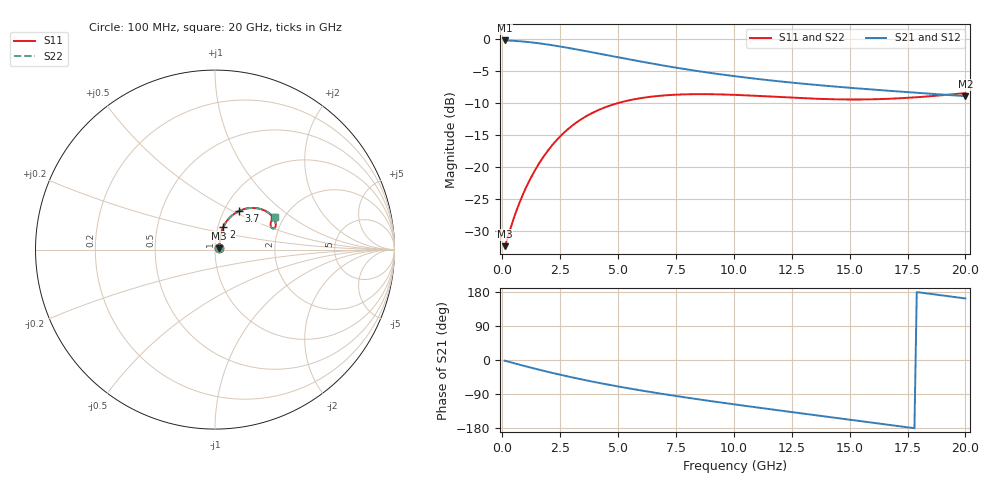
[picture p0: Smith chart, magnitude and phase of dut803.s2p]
! Touchstone file exported from HFSS 2024.1.0
!  File:  C:/UserFiles/LocalFiles/RDL_TSV_Batchsim/temp_RDL_TSV_803_1779911288.aedt
!  Generated:  04:02:50 AM May 28, 2026
!  Design:  RDL_TSV
!  Project:  temp_RDL_TSV_803_1779911288
!  Setup:  Setup1
!  Solution:  Sweep
! Variables:
!  dtsv = 9.27um
!  hbump = 3um
!  htsv = 61.24um
!  ldown = 311.72um
!  lrdl = 490.14um
!  p = 40
!  p1 = 47.83um
!  rhole = 10um
!  subl = 2895.72um
!  t = 450um
!  tdown = 4.37um
!  trdl = 2.82um
!  viad = 10um
!  wdown = 18.4um
!  wrdl = 13.08um
!  xbump = 18um
# GHz S MA R 50.000000
! Terminal data exported
! Port[1] = TM1_1_T1
! Port[2] = TM1_4_T1
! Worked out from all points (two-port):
!   200 points, 100 MHz to 20 GHz, reference 50 ohm
!   highest |S21| = -0.20 dB at 100 MHz (marker M1); lowest = -8.9 dB at 20 GHz (marker M2)
!   |S21| within 3 dB of the highest: start of sweep to 5.537 GHz
!   lowest |S11| = -32.4 dB at 100 MHz (marker M3), VSWR 1.05, Z = 52.4 + j0.679 ohm
!   |S11| at or under -10 dB: start of sweep to 5.004 GHz
!   |S22| runs from -32.4 to -8.4 dB; largest |S21 - S12| = 2.1e-14
!   S11 on the Smith chart (normalised r, x): 100 MHz: 1.05, +0.01; 2 GHz: 1.06, +0.28; 3.7 GHz: 1.18, +0.54; 20 GHz: 1.79, +0.76
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0.1  0.02398 15.7  0.9767 -1.7  0.9767 -1.7  0.02398 15.7
! Gamma 0 0 0 0
! Port Impedance 50 0 50 0
0.2  0.02679 28.5  0.9757 -3.4  0.9757 -3.4  0.02679 28.5
0.6  0.04485 54.9  0.9675 -10.0  0.9675 -10.0  0.04485 54.9
1  0.06741 65.2  0.9544 -16.5  0.9544 -16.5  0.06741 65.2
1.5  0.1003 69.8  0.9322 -24.3  0.9322 -24.3  0.1003 69.9
2  0.1364 69.9  0.9054 -31.7  0.9054 -31.7  0.1364 69.9
2.7  0.1879 66.1  0.8633 -41.6  0.8633 -41.6  0.1879 66.1
3.5  0.2417 59.7  0.8128 -52.1  0.8128 -52.1  0.2417 59.8
3.7  0.2538 58.0  0.8001 -54.6  0.8001 -54.6  0.2538 58.0
4.4  0.2908 52.1  0.7568 -63.1  0.7568 -63.1  0.2909 52.1
5.1  0.3197 46.5  0.7157 -71.0  0.7157 -71.0  0.3198 46.5
5.9  0.3435 40.7  0.6723 -79.4  0.6723 -79.4  0.3436 40.7
6.8  0.3604 35.1  0.6286 -88.4  0.6286 -88.4  0.3605 35.1
7.6  0.3684 30.9  0.5944 -95.9  0.5944 -95.9  0.3685 30.9
8.4  0.3712 27.5  0.5641 -103.2  0.5641 -103.2  0.3714 27.5
10.1  0.3661 22.3  0.5112 -117.8  0.5112 -117.8  0.3663 22.3
11.7  0.3545 20.1  0.4729 -131.0  0.4729 -131.0  0.3547 20.1
13.4  0.3425 20.1  0.4409 -144.7  0.4409 -144.7  0.3427 20.1
15  0.3371 22.0  0.4164 -157.5  0.4164 -157.5  0.3373 21.9
16.7  0.3414 24.8  0.3944 -171.2  0.3944 -171.2  0.3416 24.8
18.3  0.3554 27.3  0.376 176.0  0.376 176.0  0.3556 27.2
20  0.3781 28.8  0.3582 162.4  0.3582 162.4  0.3781 28.7
